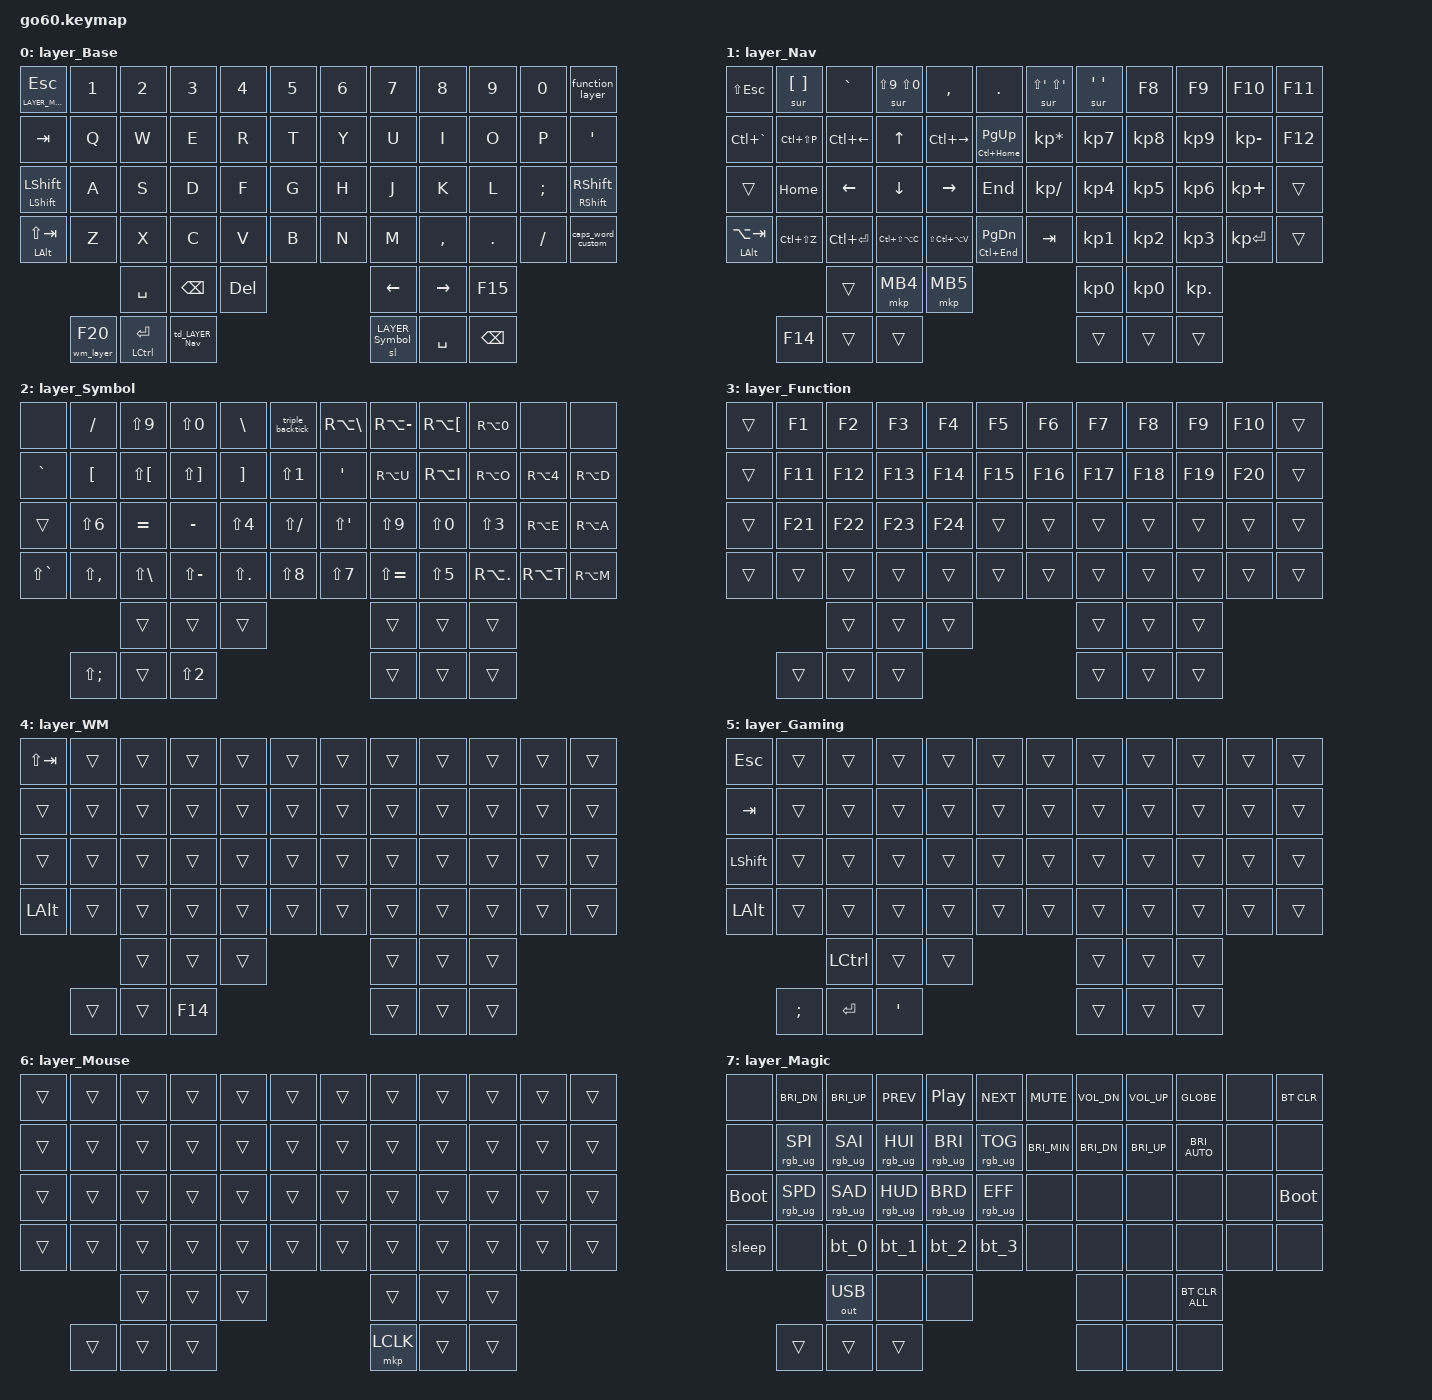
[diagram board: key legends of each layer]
/*
 * Copyright (c) 2020 The ZMK Contributors
 * Copyright (c) 2025 Innaworks Development Limited, trading as MoErgo
 *
 * SPDX-License-Identifier: MIT
 */

#include <behaviors.dtsi>

/* Include all behavior includes needed */

#include <dt-bindings/zmk/outputs.h>
#include <dt-bindings/zmk/keys.h>
#include <dt-bindings/zmk/bt.h>
#include <dt-bindings/zmk/rgb.h>
#include <input/processors.dtsi>
#include <dt-bindings/zmk/input_transform.h>
#include <zephyr/dt-bindings/input/input-event-codes.h>

#include <dt-bindings/zmk/pointing.h>

/* Locking momentary layer: release can deactivate a locked layer */
/ {
    behaviors {
        mo_lock: mo_lock {
            compatible = "zmk,behavior-momentary-layer";
            #binding-cells = <1>;
            locking;
        };
    };
};

/* Tap-dance: tap/hold = momentary layer, double-tap = toggle lock.
 * Single tap also unlocks because mo_lock is a locking behavior. */
#define ZMK_TD_LAYER(name, momentary_behavior, toggle_behavior) \
    name: name { \
        compatible = "zmk,behavior-tap-dance"; \
        #binding-cells = <0>; \
        tapping-term-ms = <200>; \
        bindings = <&momentary_behavior>, <&toggle_behavior>; \
    };

/* Key positions */

#define POS_LH_C6R1 0
#define POS_LH_C5R1 1
#define POS_LH_C4R1 2
#define POS_LH_C3R1 3
#define POS_LH_C2R1 4
#define POS_LH_C1R1 5
#define POS_RH_C1R1 6
#define POS_RH_C2R1 7
#define POS_RH_C3R1 8
#define POS_RH_C4R1 9
#define POS_RH_C5R1 10
#define POS_RH_C6R1 11
#define POS_LH_C6R2 12
#define POS_LH_C5R2 13
#define POS_LH_C4R2 14
#define POS_LH_C3R2 15
#define POS_LH_C2R2 16
#define POS_LH_C1R2 17
#define POS_RH_C1R2 18
#define POS_RH_C2R2 19
#define POS_RH_C3R2 20
#define POS_RH_C4R2 21
#define POS_RH_C5R2 22
#define POS_RH_C6R2 23
#define POS_LH_C6R3 24
#define POS_LH_C5R3 25
#define POS_LH_C4R3 26
#define POS_LH_C3R3 27
#define POS_LH_C2R3 28
#define POS_LH_C1R3 29
#define POS_RH_C1R3 30
#define POS_RH_C2R3 31
#define POS_RH_C3R3 32
#define POS_RH_C4R3 33
#define POS_RH_C5R3 34
#define POS_RH_C6R3 35
#define POS_LH_C6R4 36
#define POS_LH_C5R4 37
#define POS_LH_C4R4 38
#define POS_LH_C3R4 39
#define POS_LH_C2R4 40
#define POS_LH_C1R4 41
#define POS_RH_C1R4 42
#define POS_RH_C2R4 43
#define POS_RH_C3R4 44
#define POS_RH_C4R4 45
#define POS_RH_C5R4 46
#define POS_RH_C6R4 47
#define POS_LH_C4R5 48
#define POS_LH_C3R5 49
#define POS_LH_C2R5 50
#define POS_RH_C2R5 51
#define POS_RH_C3R5 52
#define POS_RH_C4R5 53
#define POS_LH_T1 54
#define POS_LH_T2 55
#define POS_LH_T3 56
#define POS_RH_T3 57
#define POS_RH_T2 58
#define POS_RH_T1 59

/* Layer defines */
#define LAYER_Base 0
#define LAYER_Nav 1
#define LAYER_Symbol 2
#define LAYER_Function 3
#define LAYER_WM 4
#define LAYER_Gaming 5
#define LAYER_Mouse 6
#define LAYER_Magic 7

/* Generated input processors */
/ {
    input_processors {
        zip_click_to_right_click_mapper: zip_click_to_right_click_mapper {
            compatible = "zmk,input-processor-code-mapper";
            #input-processor-cells = <0>;
            type = <INPUT_EV_KEY>;
            map = <INPUT_BTN_0 INPUT_BTN_1>;
        };
    };
};

/* Input Listeners */
&cirque_lh_listener {
    input-processors = <&zip_xy_to_scroll_mapper>, <&zip_click_to_right_click_mapper>;
};

&cirque_rh_listener {
    input-processors = <&zip_temp_layer LAYER_Mouse 150>;
    layer_Symbol {
        layers = <LAYER_Symbol>;
        input-processors = <&zip_click_to_right_click_mapper>, <&zip_temp_layer LAYER_Mouse 50>;
    };
};

/* BT profile macros: select profile, switch to BLE, set OS type */
/ {
    macros {
        bt_0: bt_0 {
            compatible = "zmk,behavior-macro";
            #binding-cells = <0>;
            bindings = <&out OUT_BLE>, <&bt BT_SEL 0>, <&endpoint_os 0>;
        };
        bt_1: bt_1 {
            compatible = "zmk,behavior-macro";
            #binding-cells = <0>;
            bindings = <&out OUT_BLE>, <&bt BT_SEL 1>, <&endpoint_os 1>;
        };
        bt_2: bt_2 {
            compatible = "zmk,behavior-macro";
            #binding-cells = <0>;
            bindings = <&out OUT_BLE>, <&bt BT_SEL 2>, <&endpoint_os 0>;
        };
        bt_3: bt_3 {
            compatible = "zmk,behavior-macro";
            #binding-cells = <0>;
            bindings = <&out OUT_BLE>, <&bt BT_SEL 3>, <&endpoint_os 1>;
        };
    };
};

/ {
    macros {

        // Cancel one-shot typing state, enter Magic, and show status indicators
        magic_layer: magic_layer {
            compatible = "zmk,behavior-macro";
            #binding-cells = <0>;
            tap-ms = <0>;
            wait-ms = <0>;
            bindings = <&macro_tap>
                , <&kp K_CANCEL>
                , <&macro_press>
                , <&mo LAYER_Magic>
                , <&macro_tap>
                , <&rgb_ug RGB_STATUS>
                , <&macro_pause_for_release>
                , <&macro_release>
                , <&mo LAYER_Magic>;
        };

        // ```
        triple_backtick: triple_backtick {
            compatible = "zmk,behavior-macro";
            #binding-cells = <0>;
            tap-ms = <0>;
            wait-ms = <0>;
            bindings = <&kp GRAVE>
                , <&kp GRAVE>
                , <&kp GRAVE>
                , <&kp LS(RET)>
                , <&kp LS(RET)>
                , <&kp GRAVE>
                , <&kp GRAVE>
                , <&kp GRAVE>
                , <&kp LS(RET)>
                , <&kp UP>
                , <&kp UP>
                , <&kp END>;
        };

        wm_layer: wm_layer {
            compatible = "zmk,behavior-macro";
            #binding-cells = <0>;
            tap-ms = <0>;
            wait-ms = <0>;
            bindings = <&macro_tap>
                , <&kp K_CANCEL>
                , <&macro_press>
                , <&kp LGUI>
                , <&mo LAYER_WM>
                , <&macro_pause_for_release>
                , <&macro_release>
                , <&mo LAYER_WM>
                , <&kp LGUI>;
        };

        cancel_held_key: cancel_held_key {
            compatible = "zmk,behavior-macro-one-param";
            #binding-cells = <1>;
            tap-ms = <0>;
            wait-ms = <0>;
            bindings = <&macro_tap>
                , <&kp K_CANCEL>
                , <&macro_press>
                , <&macro_param_1to1>
                , <&kp MACRO_PLACEHOLDER>
                , <&macro_pause_for_release>
                , <&macro_release>
                , <&macro_param_1to1>
                , <&kp MACRO_PLACEHOLDER>;
        };

        nav_momentary: nav_momentary {
            compatible = "zmk,behavior-macro";
            #binding-cells = <0>;
            tap-ms = <0>;
            wait-ms = <0>;
            bindings = <&macro_tap>
                , <&kp K_CANCEL>
                , <&macro_press>
                , <&mo_lock LAYER_Nav>
                , <&macro_pause_for_release>
                , <&macro_release>
                , <&mo_lock LAYER_Nav>;
        };

        nav_toggle: nav_toggle {
            compatible = "zmk,behavior-macro";
            #binding-cells = <0>;
            tap-ms = <0>;
            wait-ms = <0>;
            bindings = <&kp K_CANCEL>
                , <&tog LAYER_Nav>;
        };

        function_layer: function_layer {
            compatible = "zmk,behavior-macro";
            #binding-cells = <0>;
            tap-ms = <0>;
            wait-ms = <0>;
            bindings = <&macro_tap>
                , <&kp K_CANCEL>
                , <&macro_press>
                , <&mo LAYER_Function>
                , <&macro_pause_for_release>
                , <&macro_release>
                , <&mo LAYER_Function>;
        };

        gaming_toggle: gaming_toggle {
            compatible = "zmk,behavior-macro";
            #binding-cells = <0>;
            tap-ms = <0>;
            wait-ms = <0>;
            bindings = <&kp K_CANCEL>
                , <&tog LAYER_Gaming>;
        };

        back_to_desktop: back_to_desktop {
            compatible = "zmk,behavior-macro";
            #binding-cells = <0>;
            bindings = <&to 0>
                , <&kp RG(TAB)>;
        };

        sleep: sleep {
            compatible = "zmk,behavior-macro";
            #binding-cells = <0>;
            tap-ms = <0>;
            wait-ms = <0>;
            bindings = <&kp C_SLEEP>
                , <&kp LC(LS(LA(LG(Y))))>;
        };

        ctrl_click: ctrl_click {
            compatible = "zmk,behavior-macro";
            #binding-cells = <0>;
            bindings = <&macro_press>
                , <&kp LCTRL>
                , <&macro_tap>
                , <&mkp LCLK>
                , <&macro_pause_for_release>
                , <&macro_release>
                , <&kp LCTRL>;
        };

        sur: sur {
            compatible = "zmk,behavior-macro-two-param";
            #binding-cells = <2>;
            bindings = <&kp LC(X)>
                , <&macro_param_1to1>
                , <&kp MACRO_PLACEHOLDER>
                , <&kp LC(V)>
                , <&macro_param_2to1>
                , <&kp MACRO_PLACEHOLDER>;
        };
    };
};

/ {
    behaviors {

        caps_word_custom: caps_word_custom {
            compatible = "zmk,behavior-caps-word";
            #binding-cells = <0>;
            continue-list = <UNDERSCORE BACKSPACE DELETE SQT>;
        };

        // Layer tap dance behaviors

        ZMK_TD_LAYER(td_LAYER_Nav, nav_momentary, nav_toggle)

        TH_magic: TH_magic {
            compatible = "zmk,behavior-hold-tap";
            #binding-cells = <2>;
            tapping-term-ms = <200>;
            bindings = <&magic_layer>, <&kp>;
            quick-tap-ms = <300>;
        };

        TH_magic_long: TH_magic_long {
            compatible = "zmk,behavior-hold-tap";
            #binding-cells = <2>;
            tapping-term-ms = <500>;
            bindings = <&magic_layer>, <&kp>;
            flavor = "tap-preferred";
            quick-tap-ms = <150>;
            require-prior-idle-ms = <200>;
        };

        TH_mod: TH_mod {
            compatible = "zmk,behavior-hold-tap";
            #binding-cells = <2>;
            tapping-term-ms = <250>;
            bindings = <&cancel_held_key>, <&kp>;
            hold-while-undecided;
        };

        TH_wm_layer: TH_wm_layer {
            compatible = "zmk,behavior-hold-tap";
            #binding-cells = <2>;
            tapping-term-ms = <200>;
            bindings = <&wm_layer>, <&kp>;
            hold-while-undecided;
            hold-while-undecided-linger;
        };

        TH_key: TH_key {
            compatible = "zmk,behavior-hold-tap";
            #binding-cells = <2>;
            tapping-term-ms = <300>;
            bindings = <&kp>, <&kp>;
            flavor = "tap-preferred";
            quick-tap-ms = <300>;
        };

        skq: sticky_key_quick_release {
            compatible = "zmk,behavior-sticky-key";
            #binding-cells = <1>;
            bindings = <&kp>;
            release-after-ms = <200>;
            quick-release;
            ignore-modifiers;
        };

        bsk: better_sticky {
            compatible = "zmk,behavior-hold-tap";
            #binding-cells = <2>;
            flavor = "balanced";
            tapping-term-ms = <200>;
            bindings = <&kp>, <&skq>;
            hold-while-undecided;
        };
    };
};

/ {
    combos {
        compatible = "zmk,combos";

        combo_F13 {
            key-positions = <POS_LH_C4R5 POS_LH_C3R5>;
            bindings = <&kp F13>;
        };

        // Activate gaming layer
        combo_to_gaming {
            timeout-ms = <50>;
            key-positions = <POS_LH_C6R1 POS_LH_T3>;
            bindings = <&gaming_toggle>;
        };
    };
};

/ {
    keymap {
        compatible = "zmk,keymap";

        layer_Base {
            bindings = <
    &TH_magic LAYER_Magic ESC   &kp N1   &kp N2      &kp N3     &kp N4    &kp N5        &kp N6    &kp N7     &kp N8     &kp N9    &kp N0      &function_layer
                      &kp TAB   &kp Q    &kp W       &kp E      &kp R     &kp T         &kp Y     &kp U      &kp I      &kp O     &kp P       &kp SQT
             &bsk LSHFT LSHFT   &kp A    &kp S       &kp D      &kp F     &kp G         &kp H     &kp J      &kp K      &kp L     &kp SEMI    &bsk RSHFT RSHFT
         &TH_mod LALT LS(TAB)   &kp Z    &kp X       &kp C      &kp V     &kp B         &kp N     &kp M      &kp COMMA  &kp DOT   &kp FSLH    &caps_word_custom
                                             &kp SPACE   &kp BSPC   &kp DEL                           &kp LEFT   &kp RIGHT  &kp F15
                             &TH_wm_layer 0 F20    &TH_mod LCTRL RET   &td_LAYER_Nav        &sl LAYER_Symbol   &kp SPACE  &kp BSPC
            >;
        };

        layer_Nav {
            bindings = <
             &kp LS(ESC)   &sur LBKT RBKT   &kp GRAVE      &sur LS(N9) LS(N0)   &kp COMMA           &kp DOT                       &sur LS(SQT) LS(SQT)   &sur SQT SQT   &kp F8      &kp F9      &kp F10        &kp F11
           &kp LC(GRAVE)   &kp LC(LS(P))    &kp LC(LEFT)   &kp UP               &kp LC(RIGHT)       &TH_key LC(HOME) PG_UP        &kp KP_MULTIPLY        &kp KP_N7      &kp KP_N8   &kp KP_N9   &kp KP_MINUS   &kp F12
                  &trans   &kp HOME         &kp LEFT       &kp DOWN             &kp RIGHT           &kp END                       &kp KP_SLASH           &kp KP_N4      &kp KP_N5   &kp KP_N6   &kp KP_PLUS    &trans
    &TH_mod LALT LA(TAB)   &kp LC(LS(Z))    &kp LC(RET)    &kp LC(LS(LA(C)))    &kp LS(LC(LA(V)))   &TH_key LC(END) PG_DN         &kp TAB                &kp KP_N1      &kp KP_N2   &kp KP_N3   &kp KP_ENTER   &trans
                                            &trans         &mkp MB4             &mkp MB5                                                                 &kp KP_N0      &kp KP_N0   &kp KP_DOT
                                                                                                   &kp F14  &trans  &trans        &trans  &trans   &trans
            >;
        };

        layer_Symbol {
            bindings = <
            &none   &kp FSLH        &kp LS(N9)     &kp LS(N0)      &kp BSLH      &triple_backtick      &kp RA(BSLH)           &kp RA(MINUS)   &kp RA(LBKT)   &kp RA(N0)    &none        &none
        &kp GRAVE   &kp LBKT        &kp LS(LBKT)   &kp LS(RBKT)    &kp RBKT      &kp LS(N1)            &kp SQT                &kp RA(U)       &kp RA(I)      &kp RA(O)     &kp RA(N4)   &kp RA(D)
           &trans   &kp LS(N6)      &kp EQUAL      &kp MINUS       &kp LS(N4)    &kp LS(FSLH)          &kp LS(SINGLE_QUOTE)   &kp LS(N9)      &kp LS(N0)     &kp LS(N3)    &kp RA(E)    &kp RA(A)
    &kp LS(GRAVE)   &kp LS(COMMA)   &kp LS(BSLH)   &kp LS(MINUS)   &kp LS(DOT)   &kp LS(N8)            &kp LS(N7)             &kp LS(EQUAL)   &kp LS(N5)     &kp RA(DOT)   &kp RA(T)    &kp RA(M)
                                    &trans         &trans          &trans                                                     &trans          &trans         &trans
                                                                 &kp LS(SEMI)  &trans  &kp LS(N2)      &trans  &trans  &trans
            >;
        };

        layer_Function {
            bindings = <
                &trans  &kp F1   &kp F2   &kp F3   &kp F4   &kp F5        &kp F6    &kp F7    &kp F8    &kp F9    &kp F10   &trans
                &trans  &kp F11  &kp F12  &kp F13  &kp F14  &kp F15       &kp F16   &kp F17   &kp F18   &kp F19   &kp F20   &trans
                &trans  &kp F21  &kp F22  &kp F23  &kp F24  &trans        &trans    &trans    &trans    &trans    &trans    &trans
                &trans  &trans   &trans   &trans   &trans   &trans        &trans    &trans    &trans    &trans    &trans    &trans
                                 &trans   &trans   &trans                           &trans    &trans    &trans
                                          &trans   &trans   &trans       &trans     &trans    &trans
            >;
        };

        layer_WM {
            bindings = <
                &kp LS(TAB)  &trans  &trans  &trans  &trans    &trans        &trans  &trans  &trans  &trans  &trans  &trans
                     &trans  &trans  &trans  &trans  &trans    &trans        &trans  &trans  &trans  &trans  &trans  &trans
                     &trans  &trans  &trans  &trans  &trans    &trans        &trans  &trans  &trans  &trans  &trans  &trans
                   &kp LALT  &trans  &trans  &trans  &trans    &trans        &trans  &trans  &trans  &trans  &trans  &trans
                                     &trans  &trans  &trans                          &trans  &trans  &trans
                                               &trans  &trans  &kp F14       &trans  &trans  &trans
            >;
        };

        layer_Gaming {
            bindings = <
                           &kp ESC  &trans    &trans     &trans    &trans  &trans            &trans  &trans  &trans  &trans  &trans  &trans
                           &kp TAB  &trans    &trans     &trans    &trans  &trans            &trans  &trans  &trans  &trans  &trans  &trans
                         &kp LSHFT  &trans    &trans     &trans    &trans  &trans            &trans  &trans  &trans  &trans  &trans  &trans
                          &kp LALT  &trans    &trans     &trans    &trans  &trans            &trans  &trans  &trans  &trans  &trans  &trans
                                              &kp LCTRL  &trans    &trans                            &trans  &trans  &trans
                                                       &kp SEMI   &kp RET   &kp SQT           &trans  &trans  &trans
            >;
        };

        layer_Mouse {
            bindings = <
                &trans  &trans  &trans  &trans  &trans  &trans      &trans  &trans  &trans  &trans  &trans  &trans
                &trans  &trans  &trans  &trans  &trans  &trans      &trans  &trans  &trans  &trans  &trans  &trans
                &trans  &trans  &trans  &trans  &trans  &trans      &trans  &trans  &trans  &trans  &trans  &trans
                &trans  &trans  &trans  &trans  &trans  &trans      &trans  &trans  &trans  &trans  &trans  &trans
                                &trans  &trans  &trans                      &trans  &trans  &trans
                                        &trans  &trans  &trans      &mkp LCLK  &trans  &trans
            >;
        };

        layer_Magic {
            bindings = <
                      &none     &kp C_BRI_DN     &kp C_BRI_UP       &kp C_PREV         &kp C_PP       &kp C_NEXT          &kp C_MUTE  &kp C_VOL_DN  &kp C_VOL_UP       &kp GLOBE  &none   &bt BT_CLR
                      &none  &rgb_ug RGB_SPI  &rgb_ug RGB_SAI  &rgb_ug RGB_HUI  &rgb_ug RGB_BRI  &rgb_ug RGB_TOG       &kp C_BRI_MIN  &kp C_BRI_DN  &kp C_BRI_UP  &kp C_BRI_AUTO  &none        &none
                &bootloader  &rgb_ug RGB_SPD  &rgb_ug RGB_SAD  &rgb_ug RGB_HUD  &rgb_ug RGB_BRD  &rgb_ug RGB_EFF               &none         &none         &none           &none  &none  &bootloader
                     &sleep            &none            &bt_0            &bt_1            &bt_2            &bt_3               &none         &none         &none           &none  &none        &none
                                                 &out OUT_USB            &none            &none                                              &none         &none  &bt BT_CLR_ALL
                                                                                   &trans  &trans  &trans              &none  &none  &none
            >;
        };

    };
};
